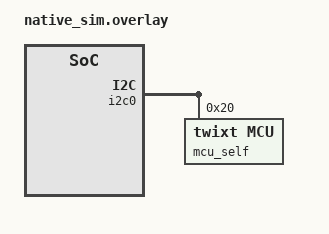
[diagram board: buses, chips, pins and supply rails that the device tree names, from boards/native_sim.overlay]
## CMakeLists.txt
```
# Copyright (c) 2026 Christoph Jans <jans.christoph@gmail.com>
# SPDX-License-Identifier: Apache-2.0

cmake_minimum_required(VERSION 3.20.0)

find_package(Zephyr REQUIRED HINTS $ENV{ZEPHYR_BASE})
project(twixt_test)

target_sources(app PRIVATE src/faults.c src/settings.c src/smp.c)
target_include_directories(app PRIVATE ../../drivers/i2c/native)
```

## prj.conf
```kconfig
# Copyright (c) 2026 Christoph Jans <jans.christoph@gmail.com>
# SPDX-License-Identifier: Apache-2.0

CONFIG_ZTEST=y
CONFIG_I2C=y
CONFIG_FLASH=y
CONFIG_FLASH_MAP=y
CONFIG_NVS=y
CONFIG_SETTINGS=y
CONFIG_SETTINGS_NVS=y
CONFIG_TWIXT_SETTINGS=y
CONFIG_ZTEST_STACK_SIZE=2048

CONFIG_MCUMGR=y
CONFIG_NET_BUF=y
CONFIG_ZCBOR=y
CONFIG_MCUMGR_GRP_OS=y
CONFIG_TWIXT_SMP=y
CONFIG_TWIXT_SMP_TIMEOUT_MS=200
CONFIG_SYSTEM_WORKQUEUE_STACK_SIZE=2048
```

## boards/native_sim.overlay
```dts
/*
 * Copyright (c) 2026 Christoph Jans <jans.christoph@gmail.com>
 *
 * SPDX-License-Identifier: Apache-2.0
 */

/* One MCU alone on the bus: requests to itself, raw transfers to its own target
 * (the native_sim port can address it) and NACKs from an empty address.
 */

/ {
	chosen {
		twixt,self = &mcu_self;
	};
};

&i2c0 {
	compatible = "twixt,i2c-mm-native";
	bus-id = <42>;
	loopback;

	mcu_self: mcu@20 {
		compatible = "twixt,mcu";
		reg = <0x20>;
	};
};
```

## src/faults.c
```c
/*
 * Copyright (c) 2026 Christoph Jans <jans.christoph@gmail.com>
 *
 * SPDX-License-Identifier: Apache-2.0
 *
 * Twixt under faults, and its ping service. The native_sim port can address
 * its own target (`loopback`), so these tests send raw transfers to this MCU's target, over
 * the bus and through its interrupt: what a broken or foreign controller could
 * send, and what a controller that lost its place leaves behind. A test service
 * counts how often a request really ran; another one echoes what it got.
 */

#include <string.h>
#include <zephyr/drivers/i2c.h>
#include <zephyr/sys/atomic.h>
#include <zephyr/ztest.h>

#include <i2c_mm_native.h>
#include <twixt/twixt.h>
#include <twixt/service/ping.h>

#define ADDR          DT_REG_ADDR(TWIXT_SELF)
#define I2C_DEV       DEVICE_DT_GET(DT_BUS(TWIXT_SELF))
#define EMPTY_ADDR    0x55
#define SERVICE_COUNT (TWIXT_SERVICE_APP + 0x7e)
#define SERVICE_NONE  (TWIXT_SERVICE_APP + 0x7d)
#define SERVICE_ECHO  (TWIXT_SERVICE_APP + 0x7c)
#define SERVICE_FAIL  (TWIXT_SERVICE_APP + 0x7b)
#define SERVICE_EIO   (TWIXT_SERVICE_APP + 0x7a)
#define SERVICE_LONG  (TWIXT_SERVICE_APP + 0x79)
#define SRC           0x42
#define BIG_ERRNO     200 /* past 127, as ENOTSUP (134) with picolibc */

static atomic_t runs;

/* The response data is how often it ran, this time included */
static int count(const struct twixt_req *req, uint8_t *rsp_data)
{
	rsp_data[0] = atomic_inc(&runs) + 1;
	return 1;
}

TWIXT_SERVICE_DEFINE(test_count_service, SERVICE_COUNT, count);

/* The response data is src, data */
static int echo(const struct twixt_req *req, uint8_t *rsp_data)
{
	rsp_data[0] = req->src;
	memcpy(&rsp_data[1], req->data, req->len);
	return 1 + req->len;
}

TWIXT_SERVICE_DEFINE(test_echo_service, SERVICE_ECHO, echo);

static int fail(const struct twixt_req *req, uint8_t *rsp_data)
{
	return -BIG_ERRNO;
}

TWIXT_SERVICE_DEFINE(test_fail_service, SERVICE_FAIL, fail);

static int link_errno;

static int eio(const struct twixt_req *req, uint8_t *rsp_data)
{
	return link_errno;
}

TWIXT_SERVICE_DEFINE(test_eio_service, SERVICE_EIO, eio);

static int too_long(const struct twixt_req *req, uint8_t *rsp_data)
{
	return TWIXT_RSP_DATA_MAX + 1;
}

TWIXT_SERVICE_DEFINE(test_long_service, SERVICE_LONG, too_long);

/* Raw transfers to this MCU's own target, over the bus: the request is service, src, flags,
 * data; the response is status, data
 */
static int request(const uint8_t *req, size_t req_len, uint8_t *rsp, size_t rsp_len)
{
	return i2c_write_read(I2C_DEV, ADDR, req, req_len, rsp, rsp_len);
}

static const uint8_t count_req[] = {SERVICE_COUNT, SRC, 0};

ZTEST(twixt_faults, test_request)
{
	atomic_val_t before = atomic_get(&runs);
	uint8_t rsp[2];

	zassert_ok(request(count_req, sizeof(count_req), rsp, sizeof(rsp)));
	zassert_equal(rsp[0], 0);
	zassert_equal(rsp[1], before + 1);
	zassert_equal(atomic_get(&runs), before + 1);
}

ZTEST(twixt_faults, test_read_alone)
{
	uint8_t rsp[2];
	atomic_val_t before;

	zassert_ok(request(count_req, sizeof(count_req), rsp, sizeof(rsp)));
	before = atomic_get(&runs);

	zassert_ok(i2c_read(I2C_DEV, rsp, sizeof(rsp), ADDR));
	zassert_equal(rsp[0], EBADMSG);
	zassert_equal(atomic_get(&runs), before, "the last request ran again");
}

ZTEST(twixt_faults, test_write_alone)
{
	atomic_val_t before = atomic_get(&runs);
	uint8_t rsp[2];

	zassert_ok(i2c_write(I2C_DEV, count_req, sizeof(count_req), ADDR));
	zassert_ok(i2c_read(I2C_DEV, rsp, sizeof(rsp), ADDR));
	zassert_equal(rsp[0], EBADMSG);
	zassert_equal(atomic_get(&runs), before);
}

/*
 * The controller reads only part of the response (it was reset during the read):
 * the request ran once, and the next one gets its own fresh response
 */
ZTEST(twixt_faults, test_lost_response)
{
	atomic_val_t before = atomic_get(&runs);
	uint8_t rsp[2];

	zassert_ok(request(count_req, sizeof(count_req), rsp, 1));
	zassert_equal(atomic_get(&runs), before + 1);

	zassert_ok(request(count_req, sizeof(count_req), rsp, sizeof(rsp)));
	zassert_equal(rsp[0], 0);
	zassert_equal(rsp[1], before + 2);
}

ZTEST(twixt_faults, test_too_long)
{
	uint8_t req[TWIXT_MSG_MAX + 1] = {SERVICE_COUNT, SRC, 0};
	atomic_val_t before = atomic_get(&runs);
	uint8_t rsp[2];

	zassert_equal(request(req, sizeof(req), rsp, sizeof(rsp)), -EIO);
	zassert_equal(atomic_get(&runs), before);

	zassert_ok(request(count_req, sizeof(count_req), rsp, sizeof(rsp)));
	zassert_equal(rsp[1], before + 1);
}

ZTEST(twixt_faults, test_unknown_service)
{
	const uint8_t req[] = {SERVICE_NONE, SRC, 0};
	uint8_t rsp[2];

	zassert_ok(request(req, sizeof(req), rsp, sizeof(rsp)));
	zassert_equal(rsp[0], ENOTSUP);
}

/*
 * An errno past 127 is an error, on the wire and as the result: native_sim's libc
 * has ENOTSUP at 95, Zephyr's (picolibc, minimal) at 134
 */
ZTEST(twixt_faults, test_big_errno)
{
	const uint8_t req[] = {SERVICE_FAIL, SRC, 0};
	uint8_t rsp[2];

	zassert_ok(request(req, sizeof(req), rsp, sizeof(rsp)));
	zassert_equal(rsp[0], BIG_ERRNO);
	zassert_equal(twixt_request(ADDR, SERVICE_FAIL, NULL, 0, rsp, sizeof(rsp)), -BIG_ERRNO);
}

/* An errno of the link must not come from a service: -ENXIO would look like "nobody answers" */
ZTEST(twixt_faults, test_bus_errno)
{
	static const int codes[] = {-ENXIO, -EIO, -ETIMEDOUT, -EAGAIN, -EBUSY, -EBADMSG, -ENOMSG};
	uint8_t rsp[1];

	for (size_t i = 0; i < ARRAY_SIZE(codes); i++) {
		link_errno = codes[i];
		zassert_equal(twixt_request(ADDR, SERVICE_EIO, NULL, 0, rsp, sizeof(rsp)), -EFAULT,
			      "errno %d", codes[i]);
	}
}

/* 0xff is the status of no answer: an errno past it must not be sent as that */
ZTEST(twixt_faults, test_status_past_no_answer)
{
	uint8_t rsp[1];

	link_errno = -300;
	zassert_equal(twixt_request(ADDR, SERVICE_EIO, NULL, 0, rsp, sizeof(rsp)), -254);
}

/* A length past the response does not reach the link */
ZTEST(twixt_faults, test_service_too_long)
{
	zassert_equal(twixt_request(ADDR, SERVICE_LONG, NULL, 0, NULL, 0), -EFAULT);
}

ZTEST(twixt_faults, test_short_header)
{
	const uint8_t req[] = {SERVICE_COUNT, SRC};
	atomic_val_t before = atomic_get(&runs);
	uint8_t rsp[2];

	zassert_ok(request(req, sizeof(req), rsp, sizeof(rsp)));
	zassert_equal(rsp[0], EBADMSG);
	zassert_equal(atomic_get(&runs), before);
}

ZTEST(twixt_faults, test_echo)
{
	const uint8_t req[] = {SERVICE_ECHO, SRC, 0, 1, 2, 3};
	const uint8_t want[] = {0, SRC, 1, 2, 3};
	uint8_t rsp[sizeof(want)];

	zassert_ok(request(req, sizeof(req), rsp, sizeof(rsp)));
	zassert_mem_equal(rsp, want, sizeof(want));
}

ZTEST(twixt_faults, test_flags_ignored)
{
	const uint8_t req[] = {SERVICE_ECHO, SRC, 0xff, 7};
	const uint8_t want[] = {0, SRC, 7};
	uint8_t rsp[sizeof(want)];

	zassert_ok(request(req, sizeof(req), rsp, sizeof(rsp)));
	zassert_mem_equal(rsp, want, sizeof(want));
}

/* twixt_request() puts this MCU in as src; to itself, past the response data reads as 0xff */
ZTEST(twixt_faults, test_echo_request)
{
	const uint8_t data[] = {4, 5};
	const uint8_t want[] = {ADDR, 4, 5, 0xff};
	uint8_t rsp[sizeof(want)];

	zassert_ok(twixt_request(ADDR, SERVICE_ECHO, data, sizeof(data), rsp, sizeof(rsp)));
	zassert_mem_equal(rsp, want, sizeof(want));
}

ZTEST(twixt_faults, test_stuck_bus)
{
	struct i2c_mm_native_stats before, after;
	struct twixt_ping_info info;

	i2c_mm_native_get_stats(I2C_DEV, &before);
	i2c_mm_native_stick_bus(I2C_DEV);

	zassert_equal(twixt_ping(EMPTY_ADDR, &info), -ENXIO, "not through to the NACK");
	i2c_mm_native_get_stats(I2C_DEV, &after);
	zassert_equal(after.recoveries, before.recoveries + 1);
}

ZTEST_SUITE(twixt_faults, NULL, NULL, NULL, NULL, NULL);

ZTEST(twixt_ping, test_ping)
{
	struct twixt_ping_info info;

	zassert_ok(twixt_ping(ADDR, &info));
	zassert_equal(info.version, TWIXT_PROTOCOL_VERSION);
	zassert_equal(info.msg_max, TWIXT_MSG_MAX);
}

ZTEST(twixt_ping, test_ping_on_the_wire)
{
	const uint8_t req[] = {TWIXT_SERVICE_PING, SRC, 0};
	uint8_t rsp[3];

	zassert_ok(request(req, sizeof(req), rsp, sizeof(rsp)));
	zassert_equal(rsp[0], 0);
	zassert_equal(rsp[1], TWIXT_PROTOCOL_VERSION);
	zassert_equal(rsp[2], TWIXT_MSG_MAX);
}

ZTEST(twixt_ping, test_ping_nobody)
{
	struct twixt_ping_info info;

	zassert_equal(twixt_ping(EMPTY_ADDR, &info), -ENXIO);
}

ZTEST_SUITE(twixt_ping, NULL, NULL, NULL, NULL, NULL);
```

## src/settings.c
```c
/*
 * Copyright (c) 2026 Christoph Jans <jans.christoph@gmail.com>
 *
 * SPDX-License-Identifier: Apache-2.0
 *
 * The settings service of twixt, with one MCU on the bus. Requests to the
 * MCU's own address do not go over the bus, so this covers the request handling
 * and the error codes, and the controller side only up to a NACK. Requests between MCUs need
 * several processes: tests/stress and samples/.
 *
 * Settings of the test, subtree "t":
 *   t/ro   r    4 bytes
 *   t/rw   rw   up to TWIXT_SETTINGS_VALUE_MAX bytes, stored
 *   t/long r    LONG_LEN bytes, more than a response holds
 *   t/huge r    HUGE_LEN bytes, more than the length byte of a response holds
 */

#include <string.h>
#include <zephyr/kernel.h>
#include <zephyr/settings/settings.h>
#include <zephyr/spinlock.h>
#include <zephyr/ztest.h>

#include <i2c_mm_native.h>
#include <twixt/twixt.h>
#include <twixt/service/settings.h>

#define ADDR       DT_REG_ADDR(TWIXT_SELF)
#define I2C_DEV    DEVICE_DT_GET(DT_BUS(TWIXT_SELF))
#define EMPTY_ADDR 0x55
#define LONG_LEN   100
#define HUGE_LEN   300
#define LONG_BYTE  'x'

static const uint8_t ro[4] = {0xde, 0xad, 0xbe, 0xef};

static struct k_spinlock lock;
static uint8_t rw[TWIXT_SETTINGS_VALUE_MAX];
static uint8_t rw_len;
static atomic_t exports;

static int t_get(const char *key, char *val, int val_len_max)
{
	int len = -ENOENT;

	K_SPINLOCK(&lock) {
		if (settings_name_steq(key, "ro", NULL)) {
			len = sizeof(ro);
			memcpy(val, ro, MIN(len, val_len_max));
		} else if (settings_name_steq(key, "rw", NULL) && rw_len > 0) {
			len = rw_len;
			memcpy(val, rw, MIN(len, val_len_max));
		} else if (settings_name_steq(key, "long", NULL)) {
			len = LONG_LEN;
			memset(val, LONG_BYTE, MIN(len, val_len_max));
		} else if (settings_name_steq(key, "huge", NULL)) {
			len = HUGE_LEN;
			memset(val, LONG_BYTE, MIN(len, val_len_max));
		}
	}
	return len;
}

static int t_set(const char *key, size_t len, settings_read_cb read_cb, void *cb_arg)
{
	uint8_t data[TWIXT_SETTINGS_VALUE_MAX];
	ssize_t ret;

	if (settings_name_steq(key, "ro", NULL)) {
		return -EACCES;
	}
	if (!settings_name_steq(key, "rw", NULL)) {
		return -ENOENT;
	}
	if (len == 0 || len > sizeof(data)) {
		return -EINVAL;
	}
	ret = read_cb(cb_arg, data, len);
	if (ret < 0) {
		return ret;
	}
	K_SPINLOCK(&lock) {
		memcpy(rw, data, len);
		rw_len = len;
	}
	return 0;
}

static int t_export(int (*export_func)(const char *name, const void *val, size_t val_len))
{
	uint8_t data[TWIXT_SETTINGS_VALUE_MAX];
	uint8_t len;

	K_SPINLOCK(&lock) {
		len = rw_len;
		memcpy(data, rw, len);
	}
	atomic_inc(&exports);
	return len > 0 ? export_func("t/rw", data, len) : 0;
}

SETTINGS_STATIC_HANDLER_DEFINE(t, "t", t_get, t_set, NULL, t_export);

ZTEST(twixt_settings, test_get)
{
	uint8_t val[TWIXT_SETTINGS_VALUE_MAX];

	zassert_equal(twixt_settings_get(ADDR, "t/ro", val, sizeof(val)), sizeof(ro));
	zassert_mem_equal(val, ro, sizeof(ro));
}

ZTEST(twixt_settings, test_get_short_buffer)
{
	uint8_t val[2] = {0};

	zassert_equal(twixt_settings_get(ADDR, "t/ro", val, sizeof(val)), sizeof(ro));
	zassert_mem_equal(val, ro, sizeof(val));
}

ZTEST(twixt_settings, test_get_value_too_long_for_response)
{
	uint8_t val[TWIXT_SETTINGS_VALUE_MAX];

	zassert_equal(twixt_settings_get(ADDR, "t/long", val, sizeof(val)), LONG_LEN);
	for (size_t i = 0; i < sizeof(val); i++) {
		zassert_equal(val[i], LONG_BYTE);
	}
}

/* The length is one byte on the wire: a larger one must not arrive narrowed */
ZTEST(twixt_settings, test_get_length_too_long_for_byte)
{
	uint8_t val[TWIXT_SETTINGS_VALUE_MAX];

	zassert_equal(twixt_settings_get(ADDR, "t/huge", val, sizeof(val)), -EOVERFLOW);
}

ZTEST(twixt_settings, test_unknown_key)
{
	uint8_t val[TWIXT_SETTINGS_VALUE_MAX];

	zassert_equal(twixt_settings_get(ADDR, "t/nothing", val, sizeof(val)), -ENOENT);
	zassert_equal(twixt_settings_set(ADDR, "t/nothing", val, 1), -ENOENT);
	/* no handler for the subtree: settings_runtime_get() says -EINVAL */
	zassert_equal(twixt_settings_get(ADDR, "nosuch/key", val, sizeof(val)), -EINVAL);
}

ZTEST(twixt_settings, test_bad_request)
{
	const uint8_t bad_op[] = {0x7f, 't', '/', 'r', 'o', '\0'};
	const uint8_t no_nul[] = {TWIXT_SETTINGS_OP_GET, 't', '/', 'r', 'o'};
	const uint8_t no_key[] = {TWIXT_SETTINGS_OP_GET, '\0'};
	uint8_t rsp[1];

	zassert_equal(twixt_request(ADDR, TWIXT_SERVICE_SETTINGS, bad_op, sizeof(bad_op), rsp, 1),
		      -ENOTSUP);
	zassert_equal(twixt_request(ADDR, TWIXT_SERVICE_SETTINGS, no_nul, sizeof(no_nul), rsp, 1),
		      -EINVAL);
	zassert_equal(twixt_request(ADDR, TWIXT_SERVICE_SETTINGS, no_key, sizeof(no_key), rsp, 1),
		      -EINVAL);
	zassert_equal(twixt_request(ADDR, TWIXT_SERVICE_SETTINGS, NULL, 0, rsp, 1), -EINVAL);
}

ZTEST(twixt_settings, test_set_read_only)
{
	uint8_t val = 0;

	zassert_equal(twixt_settings_set(ADDR, "t/ro", &val, 1), -EACCES);
}

ZTEST(twixt_settings, test_too_long)
{
	char key[TWIXT_SETTINGS_KEY_MAX + 1];
	uint8_t val[TWIXT_SETTINGS_VALUE_MAX + 1] = {0};

	memset(key, 'k', sizeof(key) - 1);
	key[sizeof(key) - 1] = '\0';
	zassert_equal(twixt_settings_get(ADDR, key, val, 1), -EINVAL);
	zassert_equal(twixt_settings_set(ADDR, "t/rw", val, sizeof(val)), -EINVAL);
}

ZTEST(twixt_settings, test_set_stored)
{
	const uint8_t val[] = {1, 2, 3};
	uint8_t got[TWIXT_SETTINGS_VALUE_MAX];
	atomic_val_t before = atomic_get(&exports);

	zassert_ok(twixt_settings_set(ADDR, "t/rw", val, sizeof(val)));
	zassert_equal(twixt_settings_get(ADDR, "t/rw", got, sizeof(got)), sizeof(val));
	zassert_mem_equal(got, val, sizeof(val));

	zassert_true(WAIT_FOR(atomic_get(&exports) > before, USEC_PER_SEC, k_msleep(1)),
		     "settings not saved");

	K_SPINLOCK(&lock) {
		rw_len = 0;
	}
	zassert_ok(settings_load_subtree("t"));
	zassert_equal(twixt_settings_get(ADDR, "t/rw", got, sizeof(got)), sizeof(val));
	zassert_mem_equal(got, val, sizeof(val));
}

ZTEST(twixt_settings, test_nobody_there)
{
	struct i2c_mm_native_stats before, after;
	struct twixt_link_stats bus;
	uint8_t val[TWIXT_SETTINGS_VALUE_MAX];

	i2c_mm_native_get_stats(I2C_DEV, &before);
	zassert_equal(twixt_settings_get(EMPTY_ADDR, "t/ro", val, sizeof(val)), -ENXIO);
	i2c_mm_native_get_stats(I2C_DEV, &after);
	zassert_true(after.nacks > before.nacks);
	twixt_get_stats(&bus);
	zassert_equal(bus.sent, 0);
}

static void *setup(void)
{
	zassert_ok(settings_subsys_init());
	return NULL;
}

ZTEST_SUITE(twixt_settings, NULL, setup, NULL, NULL, NULL);
```

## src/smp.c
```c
/*
 * Copyright (c) 2026 Christoph Jans <jans.christoph@gmail.com>
 *
 * SPDX-License-Identifier: Apache-2.0
 *
 * The MCUmgr service, to this MCU itself: an os echo request goes in
 * fragments to this MCU's MCUmgr, whose response comes back the same way. The
 * fault tests send the fragments one by one, as twixt_smp_send() would.
 */

#include <string.h>
#include <zephyr/mgmt/mcumgr/smp/smp.h>
#include <zephyr/sys/byteorder.h>
#include <zephyr/sys/crc.h>
#include <zephyr/ztest.h>

#include <twixt/service/smp.h>
#include <twixt/twixt.h>

#define ADDR       DT_REG_ADDR(TWIXT_SELF)
#define HDR_LEN    8
#define OP_WRITE   2
#define OP_WRITE_R 3
#define SMP_V2     (1 << 3)
#define CBOR_LEN   6 /* {"d": text} without the text, text of 24 bytes or more */
#define TEXT_LONG  300
#define TEXT_FULL  (CONFIG_MCUMGR_TRANSPORT_NETBUF_SIZE - HDR_LEN - CBOR_LEN)
#define WAIT       K_MSEC(500)
#define OP_INVALID 5
#define TIMEOUT    CONFIG_TWIXT_SMP_TIMEOUT_MS

static uint8_t pkt[CONFIG_MCUMGR_TRANSPORT_NETBUF_SIZE];
static char text[TEXT_FULL + 1];
static uint8_t seq;

static size_t echo_request(const char *text)
{
	size_t n = strlen(text);
	size_t len = 0;
	uint8_t *p = &pkt[HDR_LEN];

	p[len++] = 0xa1;
	p[len++] = 0x61;
	p[len++] = 'd';
	if (n < 24) {
		p[len++] = 0x60 + n;
	} else {
		p[len++] = 0x79;
		sys_put_be16(n, &p[len]);
		len += 2;
	}
	memcpy(&p[len], text, n);
	len += n;

	pkt[0] = SMP_V2 | OP_WRITE;
	pkt[1] = 0;
	sys_put_be16(len, &pkt[2]);
	sys_put_be16(0, &pkt[4]);
	pkt[6] = ++seq;
	pkt[7] = 0;
	return HDR_LEN + len;
}

/* MCUmgr encodes the response map with indefinite length: the text is inside, not at the end */
static bool contains(const struct net_buf *nb, const char *text)
{
	size_t n = strlen(text);

	for (size_t i = HDR_LEN; i + n <= nb->len; i++) {
		if (memcmp(&nb->data[i], text, n) == 0) {
			return true;
		}
	}
	return false;
}

static struct net_buf *expect_response(void)
{
	uint8_t src;
	struct net_buf *nb = twixt_smp_rsp_get(&src, WAIT);

	zassert_not_null(nb, "no response");
	zassert_equal(src, ADDR);
	zassert_true(nb->len > HDR_LEN);
	zassert_equal(nb->data[0] & 0x07, OP_WRITE_R);
	zassert_equal(nb->data[6], seq);
	zassert_equal(sys_get_be16(&nb->data[2]), nb->len - HDR_LEN);
	return nb;
}

static void expect_echo(const char *text)
{
	struct net_buf *nb = expect_response();

	zassert_true(contains(nb, text), "the response has another text");
	smp_packet_free(nb);
}

static void expect_none(void)
{
	struct net_buf *nb = twixt_smp_rsp_get(NULL, WAIT);

	if (nb != NULL) {
		smp_packet_free(nb);
	}
	zassert_is_null(nb, "a response to a broken request");
}

/* Fragment i of pkt and its CRC, as twixt_smp_send() cuts them */
static int send_frag(size_t len, size_t i, bool crc_ok)
{
	static uint8_t stream[sizeof(pkt) + 2];
	uint8_t frag[1 + TWIXT_SMP_FRAG_MAX];
	size_t total = len + 2;
	size_t off = i * TWIXT_SMP_FRAG_MAX;
	size_t n = MIN(total - off, TWIXT_SMP_FRAG_MAX);

	memcpy(stream, pkt, len);
	sys_put_be16(crc16_itu_t(0, pkt, len) ^ (crc_ok ? 0 : 1), &stream[len]);
	frag[0] = (i == 0 ? TWIXT_SMP_FIRST : 0) | i;
	memcpy(&frag[1], &stream[off], n);
	return twixt_request(ADDR, TWIXT_SERVICE_SMP, frag, 1 + n, NULL, 0);
}

static size_t frags(size_t len)
{
	return DIV_ROUND_UP(len + 2, TWIXT_SMP_FRAG_MAX);
}

static const char *long_text(size_t n)
{
	for (size_t i = 0; i < n; i++) {
		text[i] = 'a' + i % 26;
	}
	text[n] = '\0';
	return text;
}

static void before(void *fixture)
{
	struct net_buf *nb;

	while ((nb = twixt_smp_rsp_get(NULL, K_NO_WAIT)) != NULL) {
		smp_packet_free(nb);
	}
}

ZTEST(twixt_smp, test_echo)
{
	size_t len = echo_request("hello");

	zassert_equal(frags(len), 1);
	zassert_ok(twixt_smp_send(ADDR, pkt, len));
	expect_echo("hello");
}

ZTEST(twixt_smp, test_echo_long)
{
	size_t len = echo_request(long_text(TEXT_LONG));

	zassert_true(frags(len) > 4);
	zassert_ok(twixt_smp_send(ADDR, pkt, len));
	expect_echo(text);
}

ZTEST(twixt_smp, test_fragment_twice)
{
	size_t len = echo_request(long_text(TEXT_LONG));

	for (size_t i = 0; i < frags(len); i++) {
		zassert_ok(send_frag(len, i, true));
		if (i == 1) {
			zassert_ok(send_frag(len, i, true));
		}
	}
	expect_echo(text);
}

ZTEST(twixt_smp, test_fragment_missing)
{
	size_t len = echo_request(long_text(TEXT_LONG));

	zassert_ok(send_frag(len, 0, true));
	zassert_equal(send_frag(len, 2, true), -EPROTO);
	expect_none();

	zassert_ok(twixt_smp_send(ADDR, pkt, len));
	expect_echo(text);
}

ZTEST(twixt_smp, test_crc_wrong)
{
	size_t len = echo_request("hello");

	zassert_ok(send_frag(len, 0, false));
	expect_none();
}

ZTEST(twixt_smp, test_no_first)
{
	uint8_t frag[] = {1, 0};

	zassert_equal(twixt_request(ADDR, TWIXT_SERVICE_SMP, frag, sizeof(frag), NULL, 0), -EPROTO);
	expect_none();
}

/*
 * A request as large as MCUmgr's buffer fits, the CRC outside it, and gets a response. Not the
 * echo: that would be a byte longer than the buffer (indefinite-length map), so MCUmgr answers
 * with an error.
 */
ZTEST(twixt_smp, test_full_buffer)
{
	size_t len = echo_request(long_text(TEXT_FULL));

	zassert_equal(len, CONFIG_MCUMGR_TRANSPORT_NETBUF_SIZE);
	zassert_ok(twixt_smp_send(ADDR, pkt, len));
	smp_packet_free(expect_response());
}

/* A FIRST sent again starts the packet anew: a packet of one fragment runs twice */
ZTEST(twixt_smp, test_single_fragment_twice)
{
	size_t len = echo_request("hello");

	zassert_equal(frags(len), 1);
	zassert_ok(send_frag(len, 0, true));
	zassert_ok(send_frag(len, 0, true));
	expect_echo("hello");
	expect_echo("hello");
	expect_none();
}

/* The last fragment sent again is refused, although its packet went through */
ZTEST(twixt_smp, test_last_fragment_twice)
{
	size_t len = echo_request(long_text(TEXT_LONG));
	size_t last = frags(len) - 1;

	for (size_t i = 0; i <= last; i++) {
		zassert_ok(send_frag(len, i, true));
	}
	zassert_equal(send_frag(len, last, true), -EPROTO);
	expect_echo(text);
	expect_none();
}

static void expect_pool_full(void)
{
	struct net_buf *nb[CONFIG_MCUMGR_TRANSPORT_NETBUF_COUNT];

	for (size_t i = 0; i < ARRAY_SIZE(nb); i++) {
		nb[i] = smp_packet_alloc();
		zassert_not_null(nb[i], "buffer %zu is still held", i);
	}
	for (size_t i = 0; i < ARRAY_SIZE(nb); i++) {
		smp_packet_free(nb[i]);
	}
}

/* A sender gone in the middle of a packet leaves its buffer behind only for a while */
ZTEST(twixt_smp, test_abandoned_packet_expires)
{
	size_t len = echo_request(long_text(TEXT_LONG));
	struct twixt_smp_stats s0, s1;

	twixt_smp_get_stats(&s0);
	zassert_ok(send_frag(len, 0, true));
	k_msleep(2 * TIMEOUT + 50);
	twixt_smp_get_stats(&s1);
	zassert_equal(s1.expired, s0.expired + 1);
	expect_pool_full();
	zassert_equal(send_frag(len, 1, true), -EPROTO);
}

ZTEST(twixt_smp, test_slow_packet_stays)
{
	size_t len = echo_request(long_text(TEXT_LONG));
	struct twixt_smp_stats s0, s1;

	twixt_smp_get_stats(&s0);
	for (size_t i = 0; i < frags(len); i++) {
		zassert_ok(send_frag(len, i, true));
		k_msleep(TIMEOUT * 3 / 4);
	}
	expect_echo(text);
	twixt_smp_get_stats(&s1);
	zassert_equal(s1.expired, s0.expired);
}

/* A length no buffer holds is refused with the header, not when the buffer is full */
ZTEST(twixt_smp, test_impossible_length)
{
	pkt[0] = SMP_V2 | OP_WRITE;
	sys_put_be16(CONFIG_MCUMGR_TRANSPORT_NETBUF_SIZE - HDR_LEN + 1, &pkt[2]);
	zassert_equal(send_frag(HDR_LEN, 0, true), -EMSGSIZE);
	expect_none();
	expect_pool_full();
}

static size_t bare_packet(uint8_t op)
{
	memset(pkt, 0, HDR_LEN);
	pkt[0] = SMP_V2 | op;
	return HDR_LEN;
}

ZTEST(twixt_smp, test_invalid_op)
{
	size_t len = echo_request("hello");

	zassert_ok(twixt_smp_send(ADDR, pkt, len));
	expect_echo("hello");

	len = bare_packet(OP_INVALID);
	zassert_ok(twixt_smp_send(ADDR, pkt, len));
	expect_none();
	expect_pool_full();
}

/* Responses nobody takes hold a bounded number of buffers */
ZTEST(twixt_smp, test_responses_bounded)
{
	size_t len = echo_request("hello");
	struct twixt_smp_stats s0, s1;

	zassert_ok(twixt_smp_send(ADDR, pkt, len));
	expect_echo("hello");

	twixt_smp_get_stats(&s0);
	len = bare_packet(OP_WRITE_R);
	for (int i = 0; i < CONFIG_TWIXT_SMP_RSP_MAX + 3; i++) {
		zassert_ok(twixt_smp_send(ADDR, pkt, len));
	}
	twixt_smp_get_stats(&s1);
	zassert_equal(s1.rsp_dropped, s0.rsp_dropped + 3);

	for (int i = 0; i < CONFIG_TWIXT_SMP_RSP_MAX; i++) {
		struct net_buf *nb = twixt_smp_rsp_get(NULL, K_NO_WAIT);

		zassert_not_null(nb);
		smp_packet_free(nb);
	}
	zassert_is_null(twixt_smp_rsp_get(NULL, K_NO_WAIT));
	expect_pool_full();

	len = echo_request("hello");
	zassert_ok(twixt_smp_send(ADDR, pkt, len));
	expect_echo("hello");
}

ZTEST_SUITE(twixt_smp, NULL, NULL, before, NULL, NULL);
```
